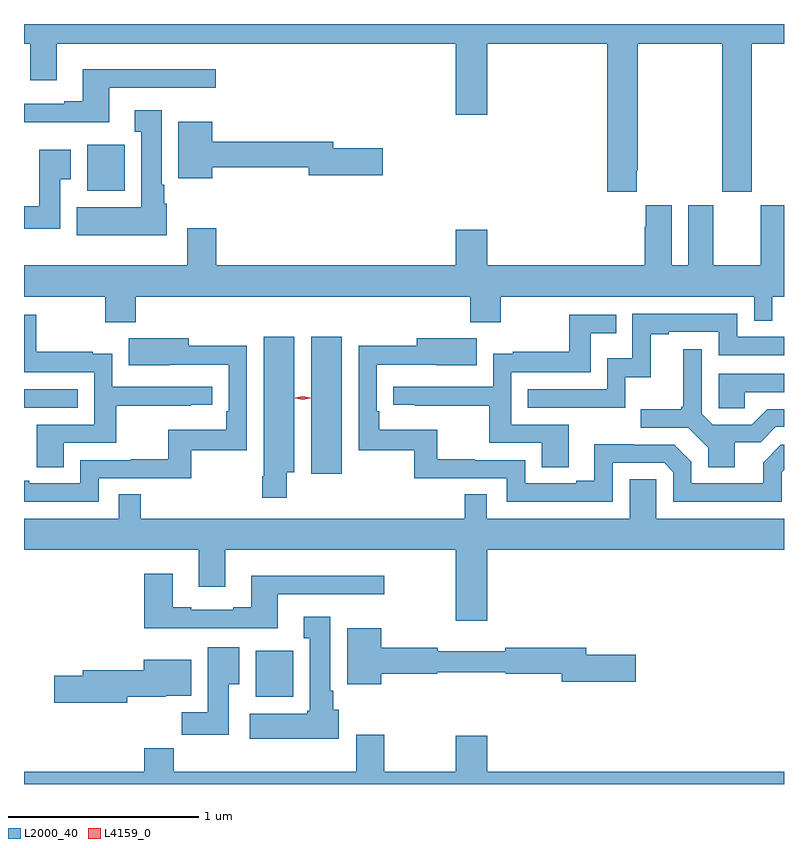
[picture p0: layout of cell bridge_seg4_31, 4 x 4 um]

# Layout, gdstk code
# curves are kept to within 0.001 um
import gdstk
lib = gdstk.Library(unit=1e-6, precision=1e-09)
def R(c, l, rs):  # rectangles x0, y0, x1, y1
    for r in rs: c.add(gdstk.rectangle(r[:2], r[2:], *l))
def P(c, l, *ps):  # polygons
    for p in ps: c.add(gdstk.Polygon(p, *l))
L2000_40 = (2000, 40)
L4159_0 = (4159, 0)

bridge_seg4_31 = lib.new_cell('bridge_seg4_31')
R(bridge_seg4_31, L2000_40, [(1134.983,828.014,1135.18,828.256), (1135.274,829.188,1135.435,829.909), (1133.763,829.536,1134.047,829.632), (1134.095,830.678,1134.292,830.92)])
P(bridge_seg4_31, L2000_40, [(1136.989,830.785),(1136.994,830.785),(1136.994,831.452),(1137.439,831.452),(1137.439,830.673),(1137.594,830.673),(1137.594,831.452),(1137.763,831.452),(1137.763,831.555),(1133.763,831.555),(1133.763,831.452),(1133.795,831.452),(1133.795,831.258),(1133.935,831.258),(1133.935,831.452),(1136.036,831.452),(1136.036,831.078),(1136.2,831.078),(1136.2,831.452),(1136.834,831.452),(1136.834,830.673),(1136.989,830.673)],
  [(1134.211,831.219),(1134.772,831.219),(1134.772,831.316),(1134.071,831.316),(1134.071,831.148),(1133.975,831.148),(1133.975,831.135),(1133.763,831.135),(1133.763,831.038),(1134.211,831.038)],
  [(1134.514,830.61),(1134.502,830.61),(1134.502,830.71),(1134.487,830.71),(1134.487,831.1),(1134.347,831.1),(1134.347,830.987),(1134.38,830.987),(1134.38,830.59),(1134.041,830.59),(1134.041,830.444),(1134.514,830.444)],
  [(1134.754,830.8),(1135.262,830.8),(1135.262,830.758),(1135.651,830.758),(1135.651,830.9),(1135.39,830.9),(1135.39,830.936),(1134.754,830.936),(1134.754,831.04),(1134.575,831.04),(1134.575,830.744),(1134.754,830.744)],
  [(1133.953,830.737),(1134.01,830.737),(1134.01,830.893),(1133.843,830.893),(1133.843,830.596),(1133.763,830.596),(1133.763,830.478),(1133.953,830.478)],
  [(1134.35,830.12),(1136.111,830.12),(1136.111,829.985),(1136.271,829.985),(1136.271,830.12),(1137.606,830.12),(1137.606,829.993),(1137.702,829.993),(1137.702,830.12),(1137.763,830.12),(1137.763,830.602),(1137.641,830.602),(1137.641,830.284),(1137.391,830.284),(1137.391,830.602),(1137.26,830.602),(1137.26,830.284),(1137.172,830.284),(1137.172,830.602),(1137.035,830.602),(1137.035,830.489),(1137.029,830.489),(1137.029,830.284),(1136.2,830.284),(1136.2,830.473),(1136.036,830.473),(1136.036,830.284),(1134.776,830.284),(1134.776,830.479),(1134.623,830.479),(1134.623,830.284),(1133.763,830.284),(1133.763,830.12),(1134.19,830.12),(1134.19,829.985),(1134.35,829.985)],
  [(1136.928,829.697),(1137.061,829.697),(1137.061,829.923),(1137.157,829.923),(1137.157,829.935),(1137.42,829.935),(1137.42,829.812),(1137.763,829.812),(1137.763,829.908),(1137.516,829.908),(1137.516,830.031),(1136.964,830.031),(1136.964,829.795),(1136.832,829.795),(1136.832,829.632),(1136.413,829.632),(1136.413,829.536),(1136.928,829.536)],
  [(1136.629,829.446),(1136.328,829.446),(1136.328,829.722),(1136.745,829.722),(1136.745,829.928),(1136.879,829.928),(1136.879,830.025),(1136.634,830.025),(1136.634,829.831),(1136.335,829.831),(1136.335,829.819),(1136.232,829.819),(1136.232,829.647),(1135.707,829.647),(1135.707,829.551),(1135.819,829.551),(1135.819,829.546),(1136.212,829.546),(1136.212,829.35),(1136.489,829.35),(1136.489,829.222),(1136.629,829.222)],
  [(1133.971,829.35),(1134.248,829.35),(1134.248,829.546),(1134.641,829.546),(1134.641,829.551),(1134.754,829.551),(1134.754,829.647),(1134.228,829.647),(1134.228,829.819),(1134.125,829.819),(1134.125,829.831),(1133.827,829.831),(1133.827,830.025),(1133.763,830.025),(1133.763,829.722),(1134.132,829.722),(1134.132,829.446),(1133.831,829.446),(1133.831,829.222),(1133.971,829.222)],
  [(1135.147,829.196),(1135.186,829.196),(1135.186,829.909),(1135.025,829.909),(1135.025,829.174),(1135.018,829.174),(1135.018,829.062),(1135.147,829.062)],
  [(1134.156,829.164),(1134.643,829.164),(1134.643,829.311),(1134.936,829.311),(1134.936,829.862),(1134.631,829.862),(1134.631,829.9),(1134.313,829.9),(1134.313,829.76),(1134.527,829.76),(1134.527,829.761),(1134.84,829.761),(1134.84,829.516),(1134.827,829.516),(1134.827,829.42),(1134.522,829.42),(1134.522,829.265),(1134.325,829.265),(1134.325,829.26),(1134.06,829.26),(1134.06,829.137),(1133.791,829.137),(1133.791,829.15),(1133.763,829.15),(1133.763,829.041),(1134.156,829.041)],
  [(1136.862,829.245),(1137.132,829.245),(1137.18,829.197),(1137.18,829.041),(1137.75,829.041),(1137.75,829.197),(1137.763,829.21),(1137.763,829.341),(1137.747,829.341),(1137.653,829.247),(1137.653,829.137),(1137.276,829.137),(1137.276,829.251),(1137.186,829.341),(1136.97,829.341),(1136.97,829.343),(1136.765,829.343),(1136.765,829.15),(1136.669,829.15),(1136.669,829.137),(1136.4,829.137),(1136.4,829.26),(1136.135,829.26),(1136.135,829.265),(1135.939,829.265),(1135.939,829.42),(1135.634,829.42),(1135.634,829.516),(1135.62,829.516),(1135.62,829.761),(1136.147,829.76),(1136.147,829.9),(1135.829,829.9),(1135.829,829.862),(1135.524,829.862),(1135.524,829.311),(1135.818,829.311),(1135.818,829.164),(1136.304,829.164),(1136.304,829.041),(1136.862,829.041)],
  [(1137.505,829.354),(1137.64,829.354),(1137.72,829.434),(1137.763,829.434),(1137.763,829.527),(1137.674,829.527),(1137.593,829.446),(1137.387,829.446),(1137.33,829.503),(1137.33,829.843),(1137.233,829.843),(1137.233,829.54),(1137.222,829.54),(1137.222,829.528),(1137.009,829.528),(1137.009,829.431),(1137.258,829.431),(1137.365,829.324),(1137.365,829.222),(1137.505,829.222)],
  [(1137.557,829.617),(1137.763,829.617),(1137.763,829.713),(1137.42,829.713),(1137.42,829.533),(1137.557,829.533)],
  [(1136.2,828.788),(1137.763,828.788),(1137.763,828.952),(1137.09,828.952),(1137.09,829.16),(1136.951,829.16),(1136.951,828.952),(1136.199,828.952),(1136.199,829.079),(1136.083,829.079),(1136.083,828.952),(1134.377,828.952),(1134.377,829.079),(1134.261,829.079),(1134.261,828.952),(1133.763,828.952),(1133.763,828.788),(1134.683,828.788),(1134.683,828.594),(1134.823,828.594),(1134.823,828.788),(1136.036,828.788),(1136.036,828.414),(1136.2,828.414)],
  [(1134.639,828.375),(1135.099,828.375),(1135.099,828.555),(1135.66,828.555),(1135.66,828.652),(1134.959,828.652),(1134.959,828.484),(1134.863,828.484),(1134.863,828.471),(1134.643,828.471),(1134.643,828.484),(1134.547,828.484),(1134.547,828.661),(1134.395,828.661),(1134.395,828.374),(1134.639,828.374)],
  [(1135.42,827.946),(1135.39,827.946),(1135.39,828.046),(1135.375,828.046),(1135.375,828.436),(1135.235,828.436),(1135.235,828.323),(1135.268,828.323),(1135.268,827.94),(1135.255,827.94),(1135.255,827.926),(1134.951,827.926),(1134.951,827.792),(1135.42,827.792)],
  [(1135.642,828.136),(1135.938,828.136),(1135.938,828.144),(1136.298,828.144),(1136.298,828.136),(1136.594,828.136),(1136.594,828.094),(1136.983,828.094),(1136.983,828.236),(1136.722,828.236),(1136.722,828.272),(1136.296,828.272),(1136.296,828.253),(1135.94,828.253),(1135.94,828.272),(1135.642,828.272),(1135.642,828.376),(1135.463,828.376),(1135.463,828.08),(1135.642,828.08)],
  [(1134.841,828.08),(1134.895,828.08),(1134.895,828.274),(1134.731,828.274),(1134.731,827.932),(1134.592,827.932),(1134.592,827.814),(1134.841,827.814)],
  [(1134.306,828.014),(1134.51,828.014),(1134.51,828.02),(1134.643,828.02),(1134.643,828.208),(1134.392,828.208),(1134.392,828.155),(1134.071,828.155),(1134.071,828.125),(1133.922,828.125),(1133.922,827.983),(1134.306,827.983)],
  [(1137.763,827.62),(1136.2,827.62),(1136.2,827.809),(1136.036,827.809),(1136.036,827.62),(1135.659,827.62),(1135.659,827.815),(1135.511,827.815),(1135.511,827.62),(1134.551,827.62),(1134.551,827.744),(1134.395,827.744),(1134.395,827.62),(1133.763,827.62),(1133.763,827.555),(1137.763,827.555)])
P(bridge_seg4_31, L4159_0, [(1135.23,829.577),(1135.19,829.586),(1135.19,829.587),(1135.19,829.587),(1135.23,829.597),(1135.27,829.587),(1135.27,829.587),(1135.27,829.586)])

lib.write_gds('bridge_seg4_31.gds')
